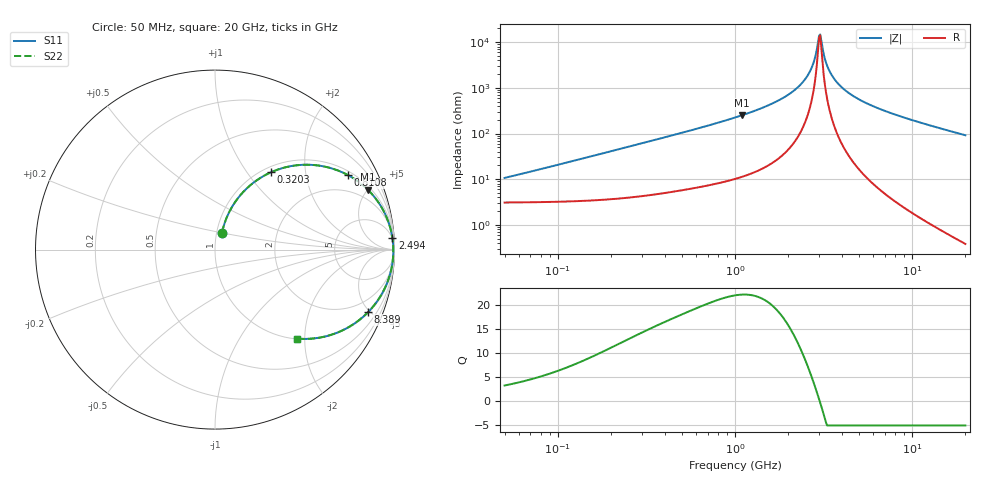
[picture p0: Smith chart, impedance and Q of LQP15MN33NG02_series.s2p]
!Murata Part Number: LQP15MN33NG02
!These Parameters are Measured in Series Mode Connection
!  o--[Z]--o
!Port1  Port2
!  o-------o
!Freq. Start=50[MHz] Stop=20[GHz], 401[Steps]
# Hz S RI R 50
!Freq.(Hz) S11(Real) S11(Imag) S21(Real) S21(Imag) S12(Real) S12(Imag) S22(Real) S22(Imag)
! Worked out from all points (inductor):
!   401 points, 50 MHz to 20 GHz, reference 50 ohm
!   read as one part in series: L = 32.5 nH near 51.52 MHz
!   highest Q = 22.2 at 1.094 GHz (marker M1), where L = 36.4 nH
!   self-resonance near 2.985 GHz
!   S11 on the Smith chart (normalised r, x): 50 MHz: 1.06, +0.20; 320.3 MHz: 1.09, +1.31; 810.8 MHz: 1.16, +3.48; 2.494 GHz: 5, +31; 8.389 GHz: 1.06, -4.89; 20 GHz: 1.01, -1.83
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5e7  0.0394 0.0953  0.9606 -0.0953  0.9606 -0.0953  0.0394 0.0953
1.364002e8  0.0981 0.2434  0.9019 -0.2434  0.9019 -0.2434  0.0981 0.2434
3.203381e8  0.3134 0.4315  0.6866 -0.4315  0.6866 -0.4315  0.3134 0.4315
3.721004e8  0.3766 0.4543  0.6234 -0.4543  0.6234 -0.4543  0.3766 0.4543
8.108264e8  0.7427 0.4142  0.2573 -0.4142  0.2573 -0.4142  0.7427 0.4142
1e9  0.8223 0.3603  0.1777 -0.3603  0.1777 -0.3603  0.8223 0.3603
1.094034e9  0.8515 0.3338  0.1485 -0.3338  0.1485 -0.3338  0.8515 0.3338
1.848039e9  0.963 0.1626  0.037 -0.1626  0.037 -0.1626  0.963 0.1626
2.211938e9  0.9812 0.1025  0.0188 -0.1025  0.0188 -0.1025  0.9812 0.1025
2.493527e9  0.9887 0.0626  0.0113 -0.0626  0.0113 -0.0626  0.9887 0.0626
2.728004e9  0.992 0.0328  0.00799 -0.0328  0.00799 -0.0328  0.992 0.0328
2.810964e9  0.9927 0.0228  0.00729 -0.0228  0.00729 -0.0228  0.9927 0.0228
2.940159e9  0.9934 0.00793  0.00664 -0.00793  0.00664 -0.00793  0.9934 0.00793
3.029571e9  0.9935 -0.00201  0.00647 0.00201  0.00647 0.00201  0.9935 -0.00201
3.364474e9  0.9925 -0.0369  0.00747 0.0369  0.00747 0.0369  0.9925 -0.0369
3.572216e9  0.9908 -0.0569  0.00919 0.0569  0.00919 0.0569  0.9908 -0.0569
3.908127e9  0.9866 -0.087  0.0134 0.087  0.0134 0.087  0.9866 -0.087
5.041459e9  0.9634 -0.1737  0.0366 0.1737  0.0366 0.1737  0.9634 -0.1737
7.442007e9  0.8886 -0.3077  0.1114 0.3077  0.1114 0.3077  0.8886 -0.3077
8.389408e9  0.854 -0.3473  0.146 0.3473  0.146 0.3473  0.854 -0.3473
1.334722e10  0.6649 -0.4688  0.3351 0.4688  0.3351 0.4688  0.6649 -0.4688
2e10  0.4558 -0.4959  0.5442 0.4959  0.5442 0.4959  0.4558 -0.4959
